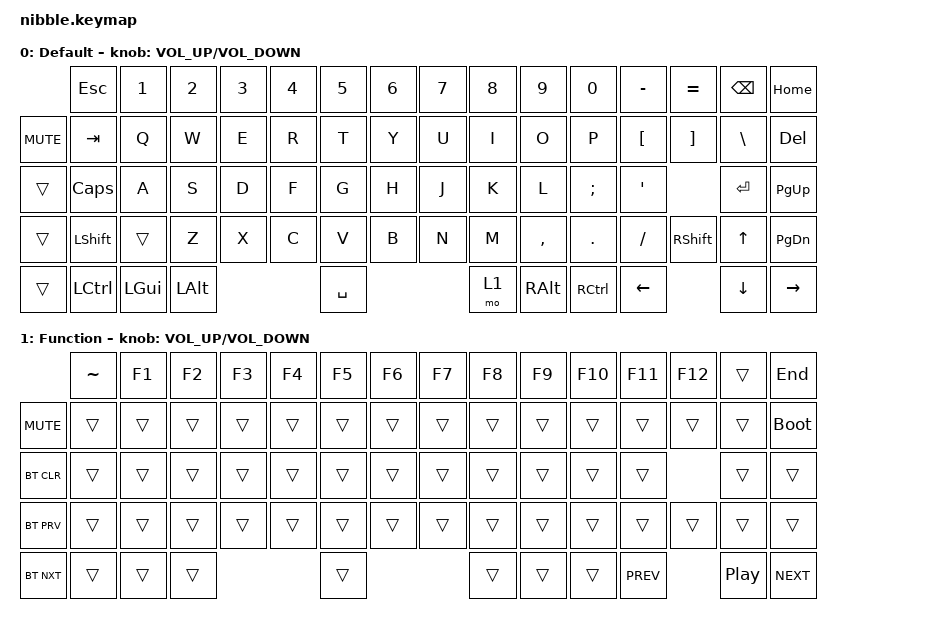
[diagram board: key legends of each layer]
/*
 * Copyright (c) 2020 The ZMK Contributors
 *
 * SPDX-License-Identifier: MIT
 */

#include <behaviors.dtsi>
#include <dt-bindings/zmk/keys.h>
#include <dt-bindings/zmk/bt.h>

/ {
    sensors: sensors {
        compatible = "zmk,keymap-sensors";
        sensors = <&encoder_1>;
        triggers-per-rotation = <20>;
    };

    shields: shields {
        compatible = "zmk,shields";
        oled-shield: oled {
            compatible = "zmk,oled";
            sensor-bindings = <&inc_dec_kp C_VOLUME_UP C_VOLUME_DOWN>;

            bindings = <
                &kp ESC   &kp N1    &kp N2    &kp N3    &kp N4    &kp N5    &kp N6
                &kp C_MUTE  &kp TAB   &kp Q     &kp W     &kp E     &kp R     &kp T     &kp Y
                &trans      &kp CLCK  &kp A     &kp S     &kp D     &kp F     &kp G     &kp H
                &trans      &kp LSHFT &trans    &kp Z     &kp X     &kp C     &kp V     &kp B
                &trans      &kp LCTRL &kp LGUI  &kp LALT                      &kp SPACE
            >;
        };
    };
    
    keymap {
        compatible = "zmk,keymap";

        default_layer {
            display-name = "Default";

            sensor-bindings = <&inc_dec_kp C_VOLUME_UP C_VOLUME_DOWN>;

            bindings = <
            &kp ESC   &kp N1    &kp N2    &kp N3    &kp N4    &kp N5    &kp N6    &kp N7    &kp N8  &kp N9    &kp N0    &kp MINUS &kp EQUAL &kp BSPC &kp HOME
&kp C_MUTE  &kp TAB   &kp Q     &kp W     &kp E     &kp R     &kp T     &kp Y     &kp U     &kp I   &kp O     &kp P     &kp LBKT  &kp RBKT  &kp BSLH &kp DEL
&trans      &kp CLCK  &kp A     &kp S     &kp D     &kp F     &kp G     &kp H     &kp J     &kp K   &kp L     &kp SEMI  &kp SQT             &kp RET  &kp PG_UP
&trans      &kp LSHFT &trans    &kp Z     &kp X     &kp C     &kp V     &kp B     &kp N     &kp M   &kp COMMA &kp DOT   &kp FSLH  &kp RSHFT &kp UP   &kp PG_DN
&trans      &kp LCTRL &kp LGUI  &kp LALT                      &kp SPACE                     &mo 1   &kp RALT  &kp RCTRL &kp LEFT            &kp DOWN &kp RIGHT
            >;
        };
        function_layer {
            display-name = "Function";

            sensor-bindings = <&inc_dec_kp C_VOLUME_UP C_VOLUME_DOWN>;

            bindings = <
            &kp TILDE &kp F1    &kp F2    &kp F3    &kp F4    &kp F5    &kp F6    &kp F7    &kp F8  &kp F9    &kp F10   &kp F11   &kp F12   &trans   &kp END
&kp C_MUTE  &trans    &trans    &trans    &trans    &trans    &trans    &trans    &trans    &trans  &trans    &trans    &trans    &trans    &trans   &bootloader
&bt BT_CLR  &trans    &trans    &trans    &trans    &trans    &trans    &trans    &trans    &trans  &trans    &trans    &trans              &trans   &trans
&bt BT_PRV  &trans    &trans    &trans    &trans    &trans    &trans    &trans    &trans    &trans  &trans    &trans    &trans    &trans    &trans   &trans
&bt BT_NXT  &trans    &trans    &trans                        &trans                        &trans  &trans    &trans    &kp C_PREV          &kp C_PP &kp C_NEXT
            >;
        };
    };
};
